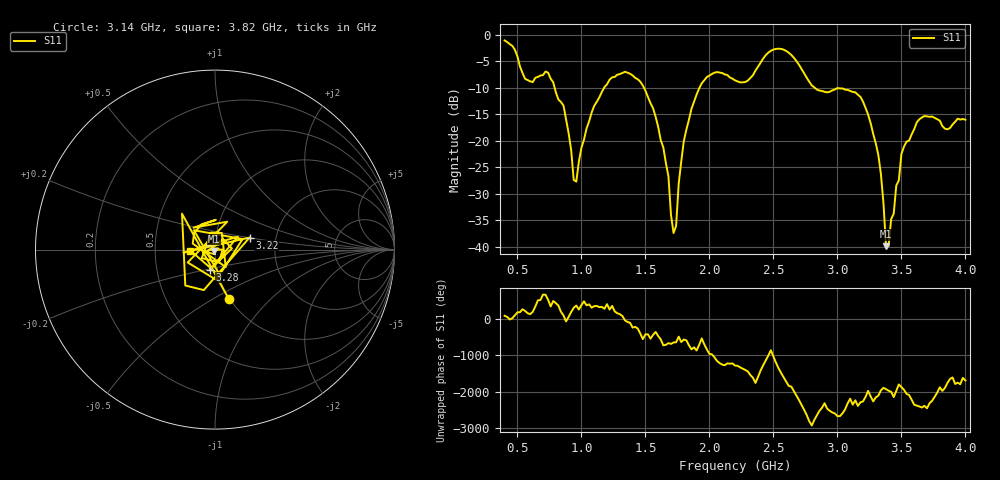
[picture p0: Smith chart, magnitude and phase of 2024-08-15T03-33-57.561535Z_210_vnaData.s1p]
!Created with skrf (http://scikit-rf.org).
# Hz S RI R 50.0
!freq ReS11 ImS11
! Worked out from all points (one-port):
!   181 points, 400 MHz to 4 GHz, reference 50 ohm
!   lowest |S11| = -39.9 dB at 3.38 GHz (marker M1), VSWR 1.02, Z = 49.4 - j0.764 ohm
!   |S11| at or under -10 dB: 791 MHz to 1.177 GHz (386.2 MHz wide, 39.2 % of centre); 1.489 GHz to 1.922 GHz (433.2 MHz wide, 25.4 % of centre); 2.823 GHz to end of sweep
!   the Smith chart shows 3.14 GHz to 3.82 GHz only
!   S11 on the Smith chart (normalised r, x): 3.14 GHz: 0.99, -0.59; 3.22 GHz: 1.46, +0.21; 3.28 GHz: 0.92, -0.21; 3.82 GHz: 0.76, -0.01
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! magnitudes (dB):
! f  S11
! 400 MHz  -1.1
! 740 MHz  -7.2
! 860 MHz  -13.4
! 960 MHz  -27.7
! 1.1 GHz  -13.4
! 1.3 GHz  -7.4
! 1.56 GHz  -13.9
! 1.68 GHz  -26.8
! 1.72 GHz  -37.5
! 1.74 GHz  -36.1
! 1.76 GHz  -28.2
! 1.82 GHz  -17.9
! 1.94 GHz  -9.2
! 2.2 GHz  -8.6
! 2.5 GHz  -2.8
! 2.66 GHz  -4.3
! 2.84 GHz  -10.3
! 3.1 GHz  -10.6
! 3.14 GHz  -10.9
! 3.22 GHz  -13.8
! 3.28 GHz  -18.7
! 3.34 GHz  -26.3
! 3.38 GHz  -39.9
! 3.5 GHz  -22.5
! 3.56 GHz  -20.0
! 3.68 GHz  -15.3
! 3.82 GHz  -17.2
! 4 GHz  -16.0
